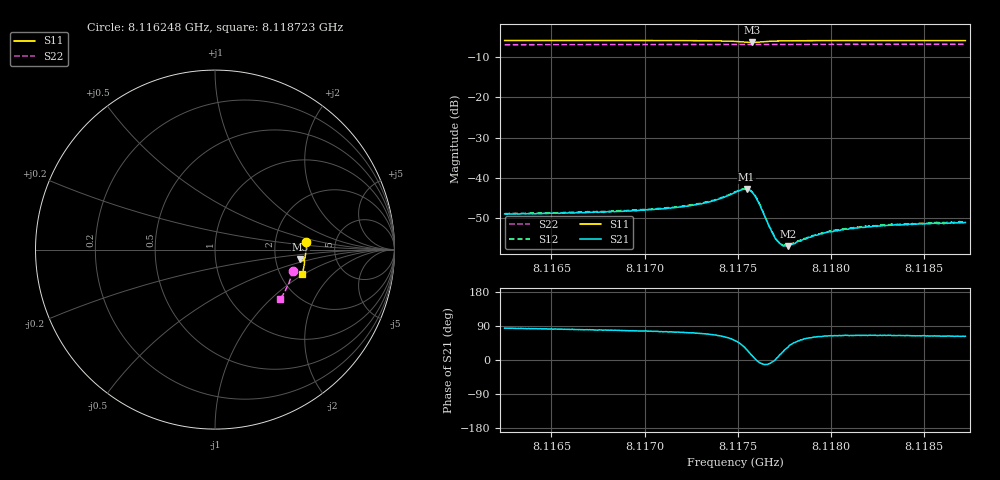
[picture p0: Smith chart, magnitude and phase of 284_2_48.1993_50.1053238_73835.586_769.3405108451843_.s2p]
#  HZ  S  RI  R  50.00
! Rohde & Schwarz Vector Network Analyzer
! Rohde-Schwarz,ZNB20-2Port,1311601062101988,3.16
! Created: UTC 3/20/2024, 11:48:48 AM
! freq[Hz]  re:S11  im:S11  re:S21  im:S21  re:S12  im:S12  re:S22  im:S22
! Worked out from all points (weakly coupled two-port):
!   401 points, 8.116248 GHz to 8.118723 GHz, reference 50 ohm
!   highest |S21| = -42.84 dB at 8.117547 GHz (marker M1); lowest = -57.0 dB at 8.11777 GHz (marker M2)
!   lowest |S11| = -6.4 dB at 8.117578 GHz (marker M3), VSWR 2.84, Z = 139 - j18.8 ohm
!   |S11| at or under -10 dB: nowhere
!   |S22| runs from -7.0 to -6.8 dB; largest |S21 - S12| = 0.00019
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8.1162484e9  0.5054 0.0398  0.000369 0.00354  0.000403 0.00356  0.4332 -0.1185
8.1166628e9  0.5063 0.00827  0.000629 0.00365  0.00072 0.00369  0.4259 -0.1464
8.1168917e9  0.506 -0.00932  0.000821 0.00376  0.000897 0.00382  0.4209 -0.1615
8.1170772e9  0.505 -0.0241  0.00106 0.00395  0.0011 0.00402  0.4166 -0.1737
8.1171886e9  0.5039 -0.0334  0.00126 0.00415  0.00132 0.0042  0.4139 -0.1809
8.1173185e9  0.5015 -0.0451  0.0017 0.00453  0.00181 0.00458  0.4103 -0.1894
8.1173927e9  0.4987 -0.0524  0.00232 0.00487  0.00242 0.00493  0.4082 -0.1942
8.1174855e9  0.4901 -0.0617  0.00409 0.00512  0.00426 0.00515  0.4052 -0.2003
8.1175226e9  0.4831 -0.0626  0.0055 0.0045  0.00565 0.00453  0.4039 -0.2024
8.1175473e9  0.4781 -0.0598  0.00637 0.00338  0.00651 0.00341  0.403 -0.2039
8.1175659e9  0.476 -0.0555  0.0066 0.00211  0.00674 0.00209  0.4025 -0.2047
8.1175783e9  0.4761 -0.0523  0.00644 0.00125  0.0066 0.0012  0.4022 -0.2053
8.1176092e9  0.4811 -0.0463  0.00506 -0.000358  0.00518 -0.000397  0.4016 -0.2067
8.1176772e9  0.4935 -0.0495  0.00229 -0.000311  0.00229 -0.000366  0.4002 -0.2112
8.1177082e9  0.496 -0.0534  0.00169 0.000141  0.0017 9.29e-05  0.3993 -0.2133
8.1177391e9  0.4976 -0.0573  0.00136 0.000502  0.00139 0.000502  0.3984 -0.2153
8.11777e9  0.4984 -0.0608  0.00118 0.000777  0.00121 0.00082  0.3975 -0.2175
8.1178999e9  0.4987 -0.0737  0.000943 0.00161  0.000973 0.00165  0.3935 -0.2257
8.1179803e9  0.4979 -0.0808  0.000945 0.00188  0.00094 0.00189  0.3907 -0.2308
8.1180669e9  0.497 -0.088  0.00097 0.00204  0.00103 0.00209  0.3879 -0.236
8.1183143e9  0.4932 -0.1072  0.0011 0.00233  0.00112 0.00237  0.3793 -0.2512
8.1187226e9  0.4855 -0.1372  0.00128 0.00248  0.00132 0.00249  0.3636 -0.2751
